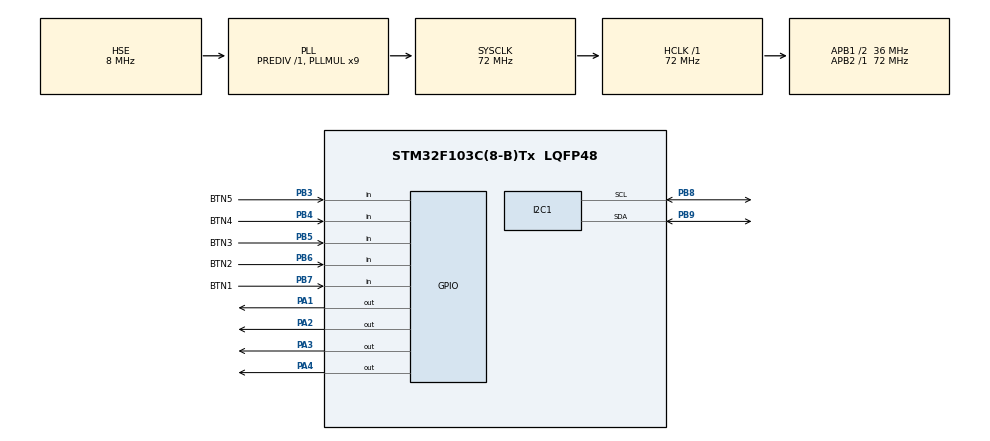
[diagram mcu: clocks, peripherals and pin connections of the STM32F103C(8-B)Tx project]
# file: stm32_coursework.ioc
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Mcu.Family=STM32F1
Mcu.Name=STM32F103C(8-B)Tx
Mcu.Package=LQFP48
NVIC.PriorityGroup=NVIC_PRIORITYGROUP_4
PA1.Signal=GPIO_Output
PA13.Mode=Serial_Wire
PA13.Signal=SYS_JTMS-SWDIO
PA14.Mode=Serial_Wire
PA14.Signal=SYS_JTCK-SWCLK
PA2.Signal=GPIO_Output
PA3.Signal=GPIO_Output
PA4.Signal=GPIO_Output
PB3.GPIO_Label=BTN5
PB3.Signal=GPIO_Input
PB4.GPIO_Label=BTN4
PB4.Signal=GPIO_Input
PB5.GPIO_Label=BTN3
PB5.Signal=GPIO_Input
PB6.GPIO_Label=BTN2
PB6.Signal=GPIO_Input
PB7.GPIO_Label=BTN1
PB7.Signal=GPIO_Input
PB8.Mode=I2C
PB8.Signal=I2C1_SCL
PB9.Mode=I2C
PB9.Signal=I2C1_SDA
PD0-OSC_IN.Mode=HSE-External-Oscillator
PD0-OSC_IN.Signal=RCC_OSC_IN
PD1-OSC_OUT.Mode=HSE-External-Oscillator
PD1-OSC_OUT.Signal=RCC_OSC_OUT
ProjectManager.HeapSize=0x200
ProjectManager.StackSize=0x400
ProjectManager.TargetToolchain=STM32CubeIDE
RCC.AHBFreq_Value=72000000
RCC.APB1CLKDivider=RCC_HCLK_DIV2
RCC.APB1Freq_Value=36000000
RCC.APB1TimFreq_Value=72000000
RCC.APB2Freq_Value=72000000
RCC.APB2TimFreq_Value=72000000
RCC.HCLKFreq_Value=72000000
RCC.PLLMUL=RCC_PLL_MUL9
RCC.PLLSourceVirtual=RCC_PLLSOURCE_HSE
RCC.SYSCLKFreq_VALUE=72000000
RCC.SYSCLKSource=RCC_SYSCLKSOURCE_PLLCLK
RCC.USBFreq_Value=72000000
TIM1.Prescaler=72-1
VP_TIM1_VS_ClockSourceINT.Mode=Internal
board=custom

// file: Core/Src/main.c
/* USER CODE BEGIN Header */
/**
  ******************************************************************************
  * @file           : main.c
  * @brief          : Main program body
  ******************************************************************************
  * @attention
  *
  * Copyright (c) 2023 STMicroelectronics.
  * All rights reserved.
  *
  * This software is licensed under terms that can be found in the LICENSE file
  * in the root directory of this software component.
  * If no LICENSE file comes with this software, it is provided AS-IS.
  *
  ******************************************************************************
  */
/* USER CODE END Header */
#include "main.h"

/* USER CODE BEGIN Includes */
#include "i2c-lcd.h"
#include "stdio.h"
/* USER CODE END Includes */

 I2C_HandleTypeDef hi2c1;
 TIM_HandleTypeDef htim1;

void SystemClock_Config(void);
static void MX_GPIO_Init(void);
static void MX_I2C1_Init(void);
static void MX_TIM1_Init(void);

/* USER CODE BEGIN 0 */
void delay (uint16_t us)
{
	__HAL_TIM_SET_COUNTER(&htim1, 0);
	while (__HAL_TIM_GET_COUNTER(&htim1) < us);
}

#define stepsperrev 4096

void stepper_set_rpm (int rpm)  // Set rpm--> max 13, min 1,,,  went to 14 rev/min
{
	delay(60000000/stepsperrev/rpm);
}

void stepper_half_drive (int step)
{
	switch (step){
		case 0:
			HAL_GPIO_WritePin(GPIOA, GPIO_PIN_1, GPIO_PIN_SET);
			HAL_GPIO_WritePin(GPIOA, GPIO_PIN_2, GPIO_PIN_RESET);
			HAL_GPIO_WritePin(GPIOA, GPIO_PIN_3, GPIO_PIN_RESET);
			HAL_GPIO_WritePin(GPIOA, GPIO_PIN_4, GPIO_PIN_RESET);
			break;

		case 1:
			HAL_GPIO_WritePin(GPIOA, GPIO_PIN_1, GPIO_PIN_SET);
			HAL_GPIO_WritePin(GPIOA, GPIO_PIN_2, GPIO_PIN_SET);
			HAL_GPIO_WritePin(GPIOA, GPIO_PIN_3, GPIO_PIN_RESET);
			HAL_GPIO_WritePin(GPIOA, GPIO_PIN_4, GPIO_PIN_RESET);
			break;

		case 2:
			HAL_GPIO_WritePin(GPIOA, GPIO_PIN_1, GPIO_PIN_RESET);
			HAL_GPIO_WritePin(GPIOA, GPIO_PIN_2, GPIO_PIN_SET);
			HAL_GPIO_WritePin(GPIOA, GPIO_PIN_3, GPIO_PIN_RESET);
			HAL_GPIO_WritePin(GPIOA, GPIO_PIN_4, GPIO_PIN_RESET);
			break;

		case 3:
			HAL_GPIO_WritePin(GPIOA, GPIO_PIN_1, GPIO_PIN_RESET);
			HAL_GPIO_WritePin(GPIOA, GPIO_PIN_2, GPIO_PIN_SET);
			HAL_GPIO_WritePin(GPIOA, GPIO_PIN_3, GPIO_PIN_SET);
			HAL_GPIO_WritePin(GPIOA, GPIO_PIN_4, GPIO_PIN_RESET);
			break;

		case 4:
			HAL_GPIO_WritePin(GPIOA, GPIO_PIN_1, GPIO_PIN_RESET);
			HAL_GPIO_WritePin(GPIOA, GPIO_PIN_2, GPIO_PIN_RESET);
			HAL_GPIO_WritePin(GPIOA, GPIO_PIN_3, GPIO_PIN_SET);
			HAL_GPIO_WritePin(GPIOA, GPIO_PIN_4, GPIO_PIN_RESET);
			break;

		case 5:
			HAL_GPIO_WritePin(GPIOA, GPIO_PIN_1, GPIO_PIN_RESET);
			HAL_GPIO_WritePin(GPIOA, GPIO_PIN_2, GPIO_PIN_RESET);
			HAL_GPIO_WritePin(GPIOA, GPIO_PIN_3, GPIO_PIN_SET);
			HAL_GPIO_WritePin(GPIOA, GPIO_PIN_4, GPIO_PIN_SET);
			break;

		case 6:
			HAL_GPIO_WritePin(GPIOA, GPIO_PIN_1, GPIO_PIN_RESET);
			HAL_GPIO_WritePin(GPIOA, GPIO_PIN_2, GPIO_PIN_RESET);
			HAL_GPIO_WritePin(GPIOA, GPIO_PIN_3, GPIO_PIN_RESET);
			HAL_GPIO_WritePin(GPIOA, GPIO_PIN_4, GPIO_PIN_SET);
			break;

		case 7:
			HAL_GPIO_WritePin(GPIOA, GPIO_PIN_1, GPIO_PIN_SET);
			HAL_GPIO_WritePin(GPIOA, GPIO_PIN_2, GPIO_PIN_RESET);
			HAL_GPIO_WritePin(GPIOA, GPIO_PIN_3, GPIO_PIN_RESET);
			HAL_GPIO_WritePin(GPIOA, GPIO_PIN_4, GPIO_PIN_SET);
			break;
		}
}
void stepper_step_angle (float angle, int direction, int rpm)
{
	float anglepersequence = 0.703125;
	int numberofsequences = (int) (angle/anglepersequence);

	for (int seq=0; seq<numberofsequences; seq++)
	{
		if (direction == 0)
		{
			for (int step=7; step>=0; step--)
			{
				stepper_half_drive(step);
				stepper_set_rpm(rpm);
			}
		}

		else if (direction == 1)
		{
			for (int step=0; step<8; step++)
			{
				stepper_half_drive(step);
				stepper_set_rpm(rpm);
			}
		}
	}
}
/* USER CODE END 0 */

int main(void)
{

  /* MCU Configuration--------------------------------------------------------*/

  /* Reset of all peripherals, Initializes the Flash interface and the Systick. */
  HAL_Init();

  /* Configure the system clock */
  SystemClock_Config();

  /* Initialize all configured peripherals */
  MX_GPIO_Init();
  MX_I2C1_Init();
  MX_TIM1_Init();
  /* USER CODE BEGIN 2 */
  HAL_TIM_Base_Start(&htim1);
  /* USER CODE END 2 */
  lcd_init();
  int BTN1_Left = 0;
  int BTN3_OK = 0;
  int EXPOSTION_TIME = 0;
  int NUMBER_OF_SAMPLES = 0;
  int FIRE = 0;

  char EXPOSTION_TIME_str[4];
  char NUMBER_OF_SAMPLES_str[4];

  /* Infinite loop */
  stepper_step_angle(80, 0, 12);
  while (1)
  {
  	  /* ПЕРЕКЛЮЧЕНИЕ ПО МЕНЮ НАЧАЛО */
  	  if (HAL_GPIO_ReadPin(BTN1_GPIO_Port, BTN1_Pin) == 1 && BTN3_OK == 0) {
  		  BTN1_Left += 1;
  	  }
  	  else if (HAL_GPIO_ReadPin(BTN2_GPIO_Port, BTN2_Pin) == 1 && BTN3_OK == 0) {
  		  BTN1_Left -= 1;
  	  }
  	  /* ПЕРЕКЛЮЧЕНИЕ ПО МЕНЮ КОНЕЦ */
  	  /* КРУГОВОЕ МЕНЮ НАЧАЛО */
  	  if (HAL_GPIO_ReadPin(BTN1_GPIO_Port, BTN1_Pin) == 1 && BTN1_Left == 3) {
  		  BTN1_Left = 0; // НАСТРОЙКА ПРАВОЙ ГРАНИЦЫ
  	  };
  	  if (HAL_GPIO_ReadPin(BTN2_GPIO_Port, BTN2_Pin) == 1 && BTN1_Left == -1) {
  		  BTN1_Left = 1; // НАСТРОЙКА ЛЕВОЙ ГРАНИЦЫ
  	  };
  	  /* КРУГОВОЕ МЕНЮ КОНЕЦ */

  	  /* ОБРАБОТКА ОК НАЧАЛО */
  	  if (HAL_GPIO_ReadPin(BTN3_GPIO_Port, BTN3_Pin) == 1) {
  	  		  BTN3_OK += 1;
  	  };
  	  if (HAL_GPIO_ReadPin(BTN3_GPIO_Port, BTN3_Pin) == 1 && BTN3_OK == 2) {
  	  		  BTN3_OK = 0;
  	  };
  	  /* ОБРАБОТКА ОК КОНЕЦ */

  	  /* ИНКРЕМЕНТАЦИЯ НАЧАЛО */

  	  /* ИНКРЕМЕНТАЦИЯ КОНЕЦ */
  	  sprintf(EXPOSTION_TIME_str, "%d", EXPOSTION_TIME);
  	  sprintf(NUMBER_OF_SAMPLES_str, "%d", NUMBER_OF_SAMPLES);

  	  /* ЭЛЕМЕНТЫ КРУГОВОГО МЕНЮ НАЧАЛО */
  	  if (BTN1_Left == 0) {
  		  lcd_put_cur(0, 0);
  		  lcd_send_string("<- Exposition ->");
  		  lcd_put_cur(1, 8);
  		  lcd_send_string(EXPOSTION_TIME_str);
  		  if (HAL_GPIO_ReadPin(BTN4_GPIO_Port, BTN4_Pin) == 1 && BTN3_OK == 1 && EXPOSTION_TIME != 9999) {
  			  EXPOSTION_TIME += 1;
  		  };
  		  if (HAL_GPIO_ReadPin(BTN5_GPIO_Port, BTN5_Pin) == 1 && BTN3_OK == 1 && EXPOSTION_TIME != 0) {
  			  EXPOSTION_TIME -= 1;
  		  };
  	  };

  	  if (BTN1_Left == 1) {
  		  lcd_put_cur(0, 0);
  		  lcd_send_string("<- N. Samples ->");
  		  lcd_put_cur(1, 8);
  		  lcd_send_string(NUMBER_OF_SAMPLES_str);
  		  if (HAL_GPIO_ReadPin(BTN4_GPIO_Port, BTN4_Pin) == 1 && BTN3_OK == 1 && NUMBER_OF_SAMPLES != 9999) {
  			  NUMBER_OF_SAMPLES += 1;
  		  };
  		  if (HAL_GPIO_ReadPin(BTN5_GPIO_Port, BTN5_Pin) == 1 && BTN3_OK == 1 && NUMBER_OF_SAMPLES != 0) {
  			  NUMBER_OF_SAMPLES -= 1;
  		  };
  	  };
  	  if (BTN1_Left == 2) {
  		  	  if (BTN3_OK == 0 && FIRE == 0) {
  	  		  	  lcd_put_cur(0, 0);
  	  		  	  lcd_send_string("<-   FIRE ?   ->");
  	  		  	  lcd_put_cur(1, 5);
  	  		  	  lcd_send_string("YES");
  	  		  	  lcd_put_cur(1, 8);
  	  		  	  lcd_send_string("/");
  	  		  	  lcd_put_cur(1, 9);
  	  		  	  lcd_send_string("NO");
  		  	  }
  		  	  if (BTN3_OK == 1) {
  		  		  if (FIRE == 0) {
  		  		  	  lcd_put_cur(0, 0);
  		  		  	  lcd_send_string("<-   FIRE ?   ->");
  	  	  		  	  lcd_put_cur(1, 7);
  	  	  		  	  lcd_send_string("NO");
  		  		  }
  		  		  else if (FIRE == 1) {
  		  		  	  lcd_put_cur(0, 0);
  		  		  	  lcd_send_string("<-   FIRE ?   ->");
  	  	  		  	  lcd_put_cur(1, 6);
  	  	  		  	  lcd_send_string("YES!");
  		  		  }
  	  		  	  if (HAL_GPIO_ReadPin(BTN4_GPIO_Port, BTN4_Pin) == 1 && FIRE != 1)  {
  	  		  		  FIRE += 1;
  	  		  	  }
  	  		  	  else if (HAL_GPIO_ReadPin(BTN5_GPIO_Port, BTN5_Pin) == 1 && FIRE != 0) {
  	  		  		  FIRE -= 1;
  	  		  	  }
  		  	  };
		  if (FIRE == 1 && BTN3_OK == 0) {
			  lcd_put_cur(0, 0);
			  lcd_send_string("working....");

		  }
  	  };
  	/* ЭЛЕМЕНТЫ КРУГОВОГО МЕНЮ КОНЕЦ */

  	  HAL_Delay(150);
  	  lcd_clear();
    }
  }

void SystemClock_Config(void)
{
  RCC_OscInitTypeDef RCC_OscInitStruct = {0};
  RCC_ClkInitTypeDef RCC_ClkInitStruct = {0};

  /** Initializes the RCC Oscillators according to the specified parameters
  * in the RCC_OscInitTypeDef structure.
  */
  RCC_OscInitStruct.OscillatorType = RCC_OSCILLATORTYPE_HSE;
  RCC_OscInitStruct.HSEState = RCC_HSE_ON;
  RCC_OscInitStruct.HSEPredivValue = RCC_HSE_PREDIV_DIV1;
  RCC_OscInitStruct.HSIState = RCC_HSI_ON;
  RCC_OscInitStruct.PLL.PLLState = RCC_PLL_ON;
  RCC_OscInitStruct.PLL.PLLSource = RCC_PLLSOURCE_HSE;
  RCC_OscInitStruct.PLL.PLLMUL = RCC_PLL_MUL9;
  if (HAL_RCC_OscConfig(&RCC_OscInitStruct) != HAL_OK)
  {
    Error_Handler();
  }

  /** Initializes the CPU, AHB and APB buses clocks
  */
  RCC_ClkInitStruct.ClockType = RCC_CLOCKTYPE_HCLK|RCC_CLOCKTYPE_SYSCLK
                              |RCC_CLOCKTYPE_PCLK1|RCC_CLOCKTYPE_PCLK2;
  RCC_ClkInitStruct.SYSCLKSource = RCC_SYSCLKSOURCE_PLLCLK;
  RCC_ClkInitStruct.AHBCLKDivider = RCC_SYSCLK_DIV1;
  RCC_ClkInitStruct.APB1CLKDivider = RCC_HCLK_DIV2;
  RCC_ClkInitStruct.APB2CLKDivider = RCC_HCLK_DIV1;

  if (HAL_RCC_ClockConfig(&RCC_ClkInitStruct, FLASH_LATENCY_2) != HAL_OK)
  {
    Error_Handler();
  }
}

static void MX_I2C1_Init(void)
{

  hi2c1.Instance = I2C1;
  hi2c1.Init.ClockSpeed = 100000;
  hi2c1.Init.DutyCycle = I2C_DUTYCYCLE_2;
  hi2c1.Init.OwnAddress1 = 0;
  hi2c1.Init.AddressingMode = I2C_ADDRESSINGMODE_7BIT;
  hi2c1.Init.DualAddressMode = I2C_DUALADDRESS_DISABLE;
  hi2c1.Init.OwnAddress2 = 0;
  hi2c1.Init.GeneralCallMode = I2C_GENERALCALL_DISABLE;
  hi2c1.Init.NoStretchMode = I2C_NOSTRETCH_DISABLE;
  if (HAL_I2C_Init(&hi2c1) != HAL_OK)
  {
    Error_Handler();
  }

}

static void MX_TIM1_Init(void)
{

  TIM_ClockConfigTypeDef sClockSourceConfig = {0};
  TIM_MasterConfigTypeDef sMasterConfig = {0};

  htim1.Instance = TIM1;
  htim1.Init.Prescaler = 72-1;
  htim1.Init.CounterMode = TIM_COUNTERMODE_UP;
  htim1.Init.Period = 65535;
  htim1.Init.ClockDivision = TIM_CLOCKDIVISION_DIV1;
  htim1.Init.RepetitionCounter = 0;
  htim1.Init.AutoReloadPreload = TIM_AUTORELOAD_PRELOAD_DISABLE;
  if (HAL_TIM_Base_Init(&htim1) != HAL_OK)
  {
    Error_Handler();
  }
  sClockSourceConfig.ClockSource = TIM_CLOCKSOURCE_INTERNAL;
  if (HAL_TIM_ConfigClockSource(&htim1, &sClockSourceConfig) != HAL_OK)
  {
    Error_Handler();
  }
  sMasterConfig.MasterOutputTrigger = TIM_TRGO_RESET;
  sMasterConfig.MasterSlaveMode = TIM_MASTERSLAVEMODE_DISABLE;
  if (HAL_TIMEx_MasterConfigSynchronization(&htim1, &sMasterConfig) != HAL_OK)
  {
    Error_Handler();
  }

}

static void MX_GPIO_Init(void)
{
  GPIO_InitTypeDef GPIO_InitStruct = {0};

  /* GPIO Ports Clock Enable */
  __HAL_RCC_GPIOD_CLK_ENABLE();
  __HAL_RCC_GPIOA_CLK_ENABLE();
  __HAL_RCC_GPIOB_CLK_ENABLE();

  /*Configure GPIO pin Output Level */
  HAL_GPIO_WritePin(GPIOA, GPIO_PIN_1|GPIO_PIN_2|GPIO_PIN_3|GPIO_PIN_4, GPIO_PIN_RESET);

  /*Configure GPIO pins : PA1 PA2 PA3 PA4 */
  GPIO_InitStruct.Pin = GPIO_PIN_1|GPIO_PIN_2|GPIO_PIN_3|GPIO_PIN_4;
  GPIO_InitStruct.Mode = GPIO_MODE_OUTPUT_PP;
  GPIO_InitStruct.Pull = GPIO_NOPULL;
  GPIO_InitStruct.Speed = GPIO_SPEED_FREQ_LOW;
  HAL_GPIO_Init(GPIOA, &GPIO_InitStruct);

  /*Configure GPIO pins : BTN5_Pin BTN4_Pin BTN3_Pin BTN2_Pin
                           BTN1_Pin */
  GPIO_InitStruct.Pin = BTN5_Pin|BTN4_Pin|BTN3_Pin|BTN2_Pin
                          |BTN1_Pin;
  GPIO_InitStruct.Mode = GPIO_MODE_INPUT;
  GPIO_InitStruct.Pull = GPIO_NOPULL;
  HAL_GPIO_Init(GPIOB, &GPIO_InitStruct);

}

void Error_Handler(void)
{
  __disable_irq();
  while (1)
  {
  }
}
